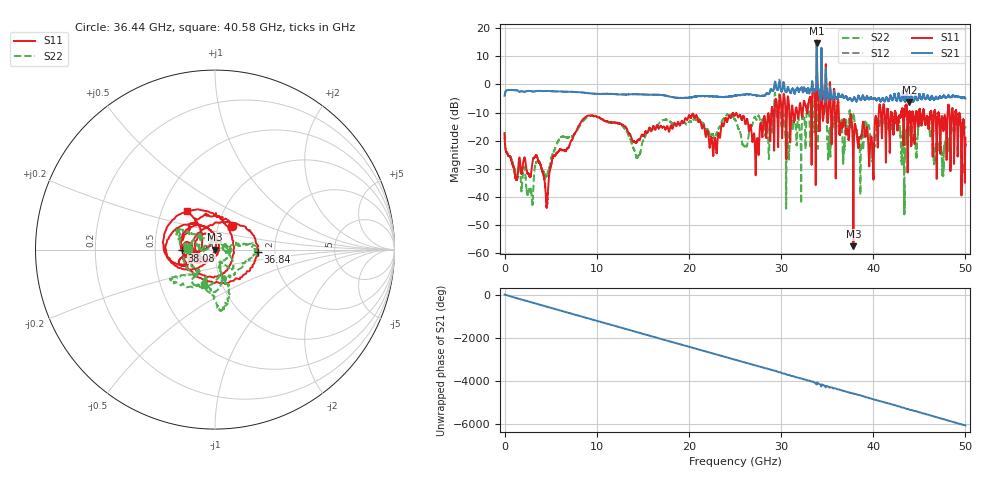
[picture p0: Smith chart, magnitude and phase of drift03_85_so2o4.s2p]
!Created with skrf (http://scikit-rf.org).
# Hz S RI R 50.0
!freq ReS11 ImS11 ReS21 ImS21 ReS12 ImS12 ReS22 ImS22
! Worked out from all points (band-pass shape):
!   10001 points, 300 kHz to 50 GHz, reference 50 ohm
!   highest |S21| = 14.60 dB at 33.88 GHz (marker M1); lowest = -6.3 dB at 43.92 GHz (marker M2)
!   |S21| within 3 dB of the highest: 33.86893 GHz to 33.8882 GHz (19.26 MHz wide, 0.0569 % of centre); 34.37715 GHz to 34.38811 GHz (10.96 MHz wide, 0.0319 % of centre)
!   lowest |S11| = -57.5 dB at 37.85 GHz (marker M3), VSWR 1.00, Z = 50 - j0.129 ohm
!   |S11| at or under -10 dB: start of sweep to 28.94 GHz; 36.27 GHz to 40.6 GHz (4.334 GHz wide, 11.3 % of centre); 47.09 GHz to 48.08 GHz (988.4 MHz wide, 2.08 % of centre) (the widest 3 of 64)
!   |S22| runs from -46.2 to 11.6 dB; largest |S21 - S12| = 0.81
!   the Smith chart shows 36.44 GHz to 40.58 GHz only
!   S11 on the Smith chart (normalised r, x): 36.44 GHz: 1.17, +0.32; 36.84 GHz: 1.62, -0.04; 38.08 GHz: 0.69, -0.01; 40.58 GHz: 0.67, +0.31
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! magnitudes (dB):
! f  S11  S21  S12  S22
! 300 kHz  -17.4  -4.0  -4.1  -17.1
! 2.82 GHz  -32.7  -2.4  -2.4  -37.8
! 4.555 GHz  -43.6  -2.3  -2.3  -32.4
! 8.335 GHz  -13.1  -2.8  -2.8  -13.9
! 14.45 GHz  -19.9  -3.5  -3.5  -25.7
! 16.67 GHz  -15.4  -3.7  -3.7  -14.3
! 22.82 GHz  -19.2  -4.3  -4.3  -19.1
! 25 GHz  -11.0  -4.0  -4.0  -12.5
! 26.09 GHz  -13.6  -3.6  -3.6  -21.9
! 27.39 GHz  -19.5  -4.1  -4.1  -12.3
! 29.6 GHz  -10.4  -2.0  -2.1  -11.6
! 30.7 GHz  -5.5  -1.4  -1.4  -17.1
! 33.34 GHz  -13.9  -0.3  -0.4  -6.9
! 33.88 GHz  15.6  14.6  14.2  11.6
! 36.44 GHz  -15.7  -4.3  -4.3  -16.4
! 36.84 GHz  -12.5  -4.7  -4.7  -23.5
! 37.85 GHz  -57.5  -5.4  -5.4  -10.9
! 38.08 GHz  -14.6  -5.5  -5.4  -16.5
! 40.58 GHz  -11.6  -4.9  -5.0  -13.7
! 41.67 GHz  -12.1  -5.9  -5.9  -14.9
! 43.92 GHz  -10.1  -6.3  -6.1  -17.0
! 50 GHz  -18.9  -5.0  -4.9  -15.1
